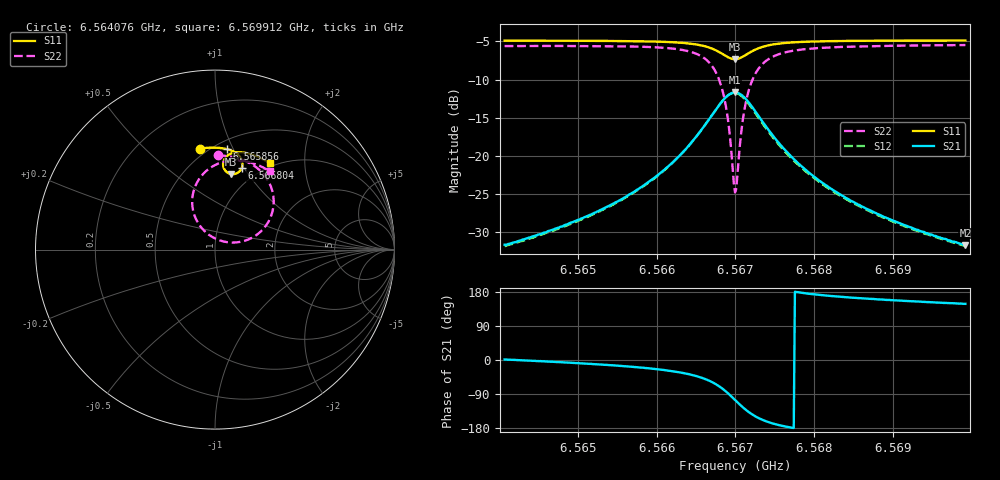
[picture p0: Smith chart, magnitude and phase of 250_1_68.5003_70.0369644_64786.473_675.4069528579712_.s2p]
#  HZ  S  RI  R  50.00
! Rohde & Schwarz Vector Network Analyzer
! Rohde-Schwarz,ZNB20-2Port,1311601062101988,3.16
! Created: UTC 3/20/2024, 4:59:48 PM
! freq[Hz]  re:S11  im:S11  re:S21  im:S21  re:S12  im:S12  re:S22  im:S22
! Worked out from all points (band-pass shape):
!   401 points, 6.564076 GHz to 6.569912 GHz, reference 50 ohm
!   highest |S21| = -11.67 dB at 6.566994 GHz (marker M1); lowest = -31.7 dB at 6.569912 GHz (marker M2)
!   |S21| within 3 dB of the highest: 6.566701 GHz to 6.567286 GHz (584.3 kHz wide, 0.0089 % of centre)
!   lowest |S11| = -7.3 dB at 6.566994 GHz (marker M3), VSWR 2.51, Z = 40.3 + j41.7 ohm
!   |S11| at or under -10 dB: nowhere
!   |S22| runs from -24.8 to -5.5 dB; largest |S21 - S12| = 0.012
!   S11 on the Smith chart (normalised r, x): 6.564076 GHz: 0.45, +0.75; 6.565856 GHz: 0.58, +0.95; 6.566804 GHz: 0.83, +0.97; 6.569912 GHz: 0.94, +1.35
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6.5640761e9  -0.0841 0.5629  0.0262 0.000645  0.0257 0.000107  0.0145 0.5248
6.5650536e9  -0.00533 0.568  0.0386 -0.00608  0.0379 -0.00658  0.1039 0.5146
6.565856e9  0.0669 0.5595  0.0607 -0.0234  0.0597 -0.024  0.1994 0.4786
6.5660311e9  0.0844 0.5542  0.0689 -0.0319  0.0678 -0.0328  0.2263 0.4612
6.5663375e9  0.1181 0.5375  0.0879 -0.06  0.0864 -0.0611  0.2818 0.4056
6.5665563e9  0.1429 0.5121  0.1012 -0.1041  0.0991 -0.1059  0.3208 0.3207
6.5667022e9  0.1531 0.4816  0.0974 -0.1572  0.0936 -0.1599  0.3217 0.2189
6.5668043e9  0.1482 0.4526  0.0714 -0.207  0.065 -0.2098  0.2771 0.125
6.5668918e9  0.1279 0.429  0.0199 -0.2455  0.0105 -0.2461  0.1839 0.0556
6.566921e9  0.1177 0.4238  -0.00367 -0.2532  -0.0137 -0.2522  0.1412 0.0431
6.5669648e9  0.0998 0.4203  -0.0426 -0.256  -0.0532 -0.2526  0.0719 0.0409
6.566994e9  0.0876 0.4215  -0.069 -0.2515  -0.0794 -0.2461  0.0258 0.0516
6.5670231e9  0.0759 0.4254  -0.0941 -0.2419  -0.1036 -0.2348  -0.0169 0.0715
6.5670815e9  0.0571 0.4403  -0.1349 -0.2104  -0.1415 -0.2008  -0.0832 0.1316
6.5671253e9  0.0488 0.4549  -0.1546 -0.1809  -0.1586 -0.1709  -0.1124 0.1854
6.5671836e9  0.0451 0.4748  -0.167 -0.1414  -0.1681 -0.1318  -0.127 0.2555
6.5672566e9  0.0491 0.4964  -0.1668 -0.0992  -0.1657 -0.0911  -0.1185 0.3286
6.5675192e9  0.0882 0.5347  -0.125 -0.0216  -0.1223 -0.0182  -0.0236 0.4574
6.5679714e9  0.1466 0.5424  -0.0744 0.00802  -0.0726 0.0091  0.0961 0.4967
6.5684383e9  0.1919 0.5336  -0.0501 0.0133  -0.0488 0.0138  0.1687 0.4919
6.5689489e9  0.2343 0.5192  -0.0359 0.0142  -0.0351 0.0145  0.2253 0.4762
6.5699118e9  0.3037 0.4834  -0.0222 0.0138  -0.0216 0.0138  0.3055 0.4365
